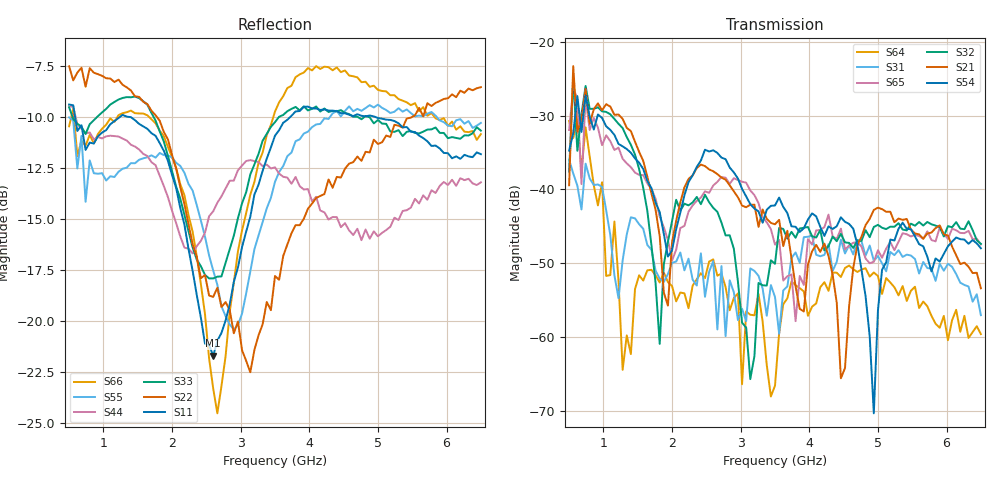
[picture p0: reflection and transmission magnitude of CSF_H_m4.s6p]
!Keysight Technologies,M9804A,MY58100912,A.14.10.03
!Date: Thursday, April 27, 2023 10:28:33
!Correction: S11(C  6-Port  )
!S12(C  6-Port  )
!S13(C  6-Port  )
!S14(C  6-Port  )
!S15(C  6-Port  )
!S16(C  6-Port  )
!S21(C  6-Port  )
!S22(C  6-Port  )
!S23(C  6-Port  )
!S24(C  6-Port  )
!S25(C  6-Port  )
!S26(C  6-Port  )
!S31(C  6-Port  )
!S32(C  6-Port  )
!S33(C  6-Port  )
!S34(C  6-Port  )
!S35(C  6-Port  )
!S36(C  6-Port  )
!S41(C  6-Port  )
!S42(C  6-Port  )
!S43(C  6-Port  )
!S44(C  6-Port  )
!S45(C  6-Port  )
!S46(C  6-Port  )
!S51(C  6-Port  )
!S52(C  6-Port  )
!S53(C  6-Port  )
!S54(C  6-Port  )
!S55(C  6-Port  )
!S56(C  6-Port  )
!S61(C  6-Port  )
!S62(C  6-Port  )
!S63(C  6-Port  )
!S64(C  6-Port  )
!S65(C  6-Port  )
!S66(C  6-Port  )
!S6P File: Measurement: :
# Hz S  RI  R 50
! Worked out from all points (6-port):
!   101 points, 500 MHz to 6.5 GHz, reference 50 ohm
!   strongest paths, dB at 500 MHz, 2 GHz, 3.5 GHz, 5 GHz, 6.5 GHz:
!     S54: -34.7, -48.2, -42.2, -56.4, -48.0
!     S21: -39.4, -47.1, -44.7, -42.5, -53.4
!     S32: -37.6, -44.3, -50.1, -44.8, -47.4
!     S65: -31.9, -49.6, -47.5, -48.2, -47.5
!     S31: -36.0, -49.9, -54.6, -49.0, -57.0
!     S64: -30.7, -53.1, -66.6, -51.7, -59.6
!   lowest |S11| = -21.7 dB at 2.6 GHz (marker M1), VSWR 1.18, Z = 42.6 + j2 ohm
!   |S11| at or under -10 dB: 587.8 MHz to 1.235 GHz (647.5 MHz wide, 71 % of centre); 1.402 GHz to 3.718 GHz (2.317 GHz wide, 90.5 % of centre); 4.97 GHz to end of sweep
